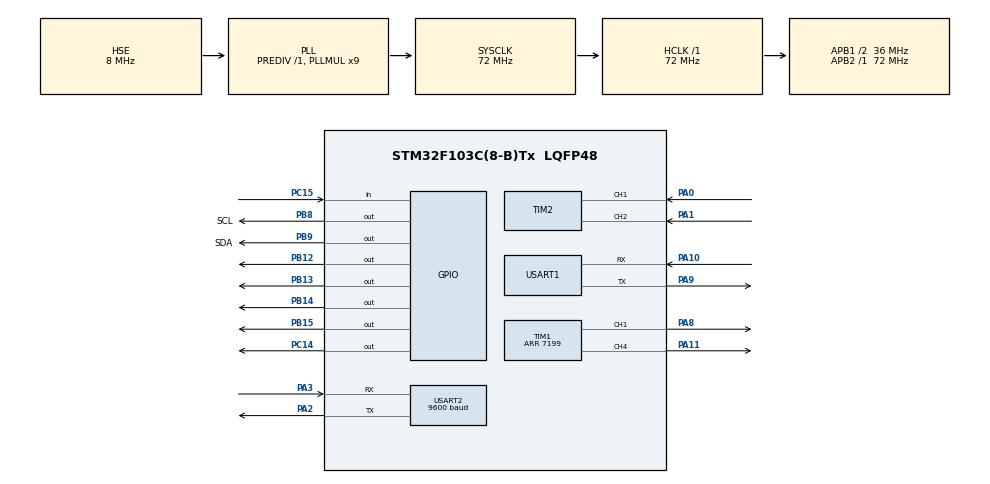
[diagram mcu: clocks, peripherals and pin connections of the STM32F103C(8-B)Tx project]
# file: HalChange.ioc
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FREERTOS.Tasks01=Task01,0,128,StartDefaultTask,Default,NULL,Dynamic,NULL,NULL;Task02,-3,128,StartTask02,Default,NULL,Dynamic,NULL,NULL
Mcu.Family=STM32F1
Mcu.Name=STM32F103C(8-B)Tx
Mcu.Package=LQFP48
NVIC.PriorityGroup=NVIC_PRIORITYGROUP_4
NVIC.TIM2_IRQn=true\:0\:0\:false\:false\:true\:false\:true\:true
NVIC.TIM3_IRQn=true\:0\:0\:false\:false\:true\:false\:true\:true
NVIC.TIM4_IRQn=true\:1\:0\:true\:false\:true\:false\:true\:true
NVIC.TimeBase=TIM3_IRQn
NVIC.TimeBaseIP=TIM3
NVIC.USART1_IRQn=true\:0\:0\:false\:false\:true\:false\:true\:true
NVIC.USART2_IRQn=true\:0\:0\:false\:false\:true\:false\:true\:true
PA0-WKUP.Signal=S_TIM2_CH1_ETR
PA1.Signal=S_TIM2_CH2
PA10.Mode=Asynchronous
PA10.Signal=USART1_RX
PA11.Signal=S_TIM1_CH4
PA13.Mode=Serial_Wire
PA13.Signal=SYS_JTMS-SWDIO
PA14.Mode=Serial_Wire
PA14.Signal=SYS_JTCK-SWCLK
PA2.Mode=Asynchronous
PA2.Signal=USART2_TX
PA3.Mode=Asynchronous
PA3.Signal=USART2_RX
PA8.Signal=S_TIM1_CH1
PA9.Mode=Asynchronous
PA9.Signal=USART1_TX
PB12.GPIO_Speed=GPIO_SPEED_FREQ_HIGH
PB12.PinState=GPIO_PIN_SET
PB12.Signal=GPIO_Output
PB13.GPIO_Speed=GPIO_SPEED_FREQ_HIGH
PB13.PinState=GPIO_PIN_SET
PB13.Signal=GPIO_Output
PB14.GPIO_Speed=GPIO_SPEED_FREQ_HIGH
PB14.PinState=GPIO_PIN_SET
PB14.Signal=GPIO_Output
PB15.GPIO_Speed=GPIO_SPEED_FREQ_HIGH
PB15.PinState=GPIO_PIN_SET
PB15.Signal=GPIO_Output
PB8.GPIO_Label=SCL
PB8.GPIO_Speed=GPIO_SPEED_FREQ_HIGH
PB8.PinState=GPIO_PIN_SET
PB8.Signal=GPIO_Output
PB9.GPIO_Label=SDA
PB9.GPIO_Speed=GPIO_SPEED_FREQ_HIGH
PB9.PinState=GPIO_PIN_SET
PB9.Signal=GPIO_Output
PC14-OSC32_IN.GPIO_PuPd=GPIO_NOPULL
PC14-OSC32_IN.GPIO_Speed=GPIO_SPEED_FREQ_HIGH
PC14-OSC32_IN.PinState=GPIO_PIN_SET
PC14-OSC32_IN.Signal=GPIO_Output
PC15-OSC32_OUT.GPIO_PuPd=GPIO_PULLUP
PC15-OSC32_OUT.Signal=GPIO_Input
PD0-OSC_IN.Mode=HSE-External-Oscillator
PD0-OSC_IN.Signal=RCC_OSC_IN
PD1-OSC_OUT.Mode=HSE-External-Oscillator
PD1-OSC_OUT.Signal=RCC_OSC_OUT
ProjectManager.HeapSize=0x200
ProjectManager.StackSize=0x400
ProjectManager.TargetToolchain=STM32CubeIDE
RCC.AHBFreq_Value=72000000
RCC.APB1CLKDivider=RCC_HCLK_DIV2
RCC.APB1Freq_Value=36000000
RCC.APB1TimFreq_Value=72000000
RCC.APB2Freq_Value=72000000
RCC.APB2TimFreq_Value=72000000
RCC.HCLKFreq_Value=72000000
RCC.PLLMUL=RCC_PLL_MUL9
RCC.PLLSourceVirtual=RCC_PLLSOURCE_HSE
RCC.SYSCLKFreq_VALUE=72000000
RCC.SYSCLKSource=RCC_SYSCLKSOURCE_PLLCLK
RCC.USBFreq_Value=72000000
SH.S_TIM1_CH1.0=TIM1_CH1,PWM Generation1 CH1
SH.S_TIM1_CH4.0=TIM1_CH4,PWM Generation4 CH4
SH.S_TIM2_CH1_ETR.0=TIM2_CH1,Encoder_Interface
SH.S_TIM2_CH2.0=TIM2_CH2,Encoder_Interface
TIM1.Channel-PWM\ Generation1\ CH1=TIM_CHANNEL_1
TIM1.Channel-PWM\ Generation4\ CH4=TIM_CHANNEL_4
TIM1.Period=7199
TIM4.AutoReloadPreload=TIM_AUTORELOAD_PRELOAD_ENABLE
TIM4.Period=99
TIM4.Prescaler=7199
USART1.VirtualMode=VM_ASYNC
USART2.BaudRate=9600
USART2.VirtualMode=VM_ASYNC
VP_FREERTOS_VS_CMSIS_V1.Mode=CMSIS_V1
VP_SYS_VS_tim3.Mode=TIM3
VP_TIM4_VS_ClockSourceINT.Mode=Internal
board=custom

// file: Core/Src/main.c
/* USER CODE BEGIN Header */
/**
  ******************************************************************************
  * @file           : main.c
  * @brief          : Main program body
  ******************************************************************************
  * @attention
  *
  * <h2><center>&copy; Copyright (c) 2023 STMicroelectronics.
  * All rights reserved.</center></h2>
  *
  * This software component is licensed by ST under BSD 3-Clause license,
  * the "License"; You may not use this file except in compliance with the
  * License. You may obtain a copy of the License at:
  *                        opensource.org/licenses/BSD-3-Clause
  *
  ******************************************************************************
  */
/* USER CODE END Header */
#include "main.h"
#include "cmsis_os.h"
#include "tim.h"
#include "usart.h"
#include "gpio.h"

/* USER CODE BEGIN Includes */
#include "stdio.h"
#include "math.h"
#include "TimControl.h"
#include "PidPosition.h"
#include "PidSpeed.h"
/* USER CODE END Includes */

/* USER CODE BEGIN PV */
int MotorSpeed_A = 0,MotorSpeed_B = 0;
int MotorOutput_A = 0,MotorOutput_B = 0;
float Pwm = 0;
int PwmOut = 0;
int count = 0;
uint8_t TX_BUF[100] = {0};
extern int circle;
/* USER CODE END PV */

void SystemClock_Config(void);
void MX_FREERTOS_Init(void);
/* USER CODE BEGIN PFP */
int fputc(int ch, FILE *p);
/* USER CODE END PFP */

int main(void)
{

  /* MCU Configuration--------------------------------------------------------*/

  /* Reset of all peripherals, Initializes the Flash interface and the Systick. */
  HAL_Init();

  /* Configure the system clock */
  SystemClock_Config();

  /* Initialize all configured peripherals */
  MX_GPIO_Init();
  MX_USART1_UART_Init();
  MX_USART2_UART_Init();
  MX_TIM1_Init();
  MX_TIM4_Init();
  MX_TIM2_Init();
  /* USER CODE BEGIN 2 */
  PidSpeed_Init();
  PidPosition_Init();

  HAL_TIM_PWM_Start(&htim1, TIM_CHANNEL_1);
  HAL_TIM_PWM_Start(&htim1, TIM_CHANNEL_4);

  HAL_TIM_Encoder_Start(&htim2, TIM_CHANNEL_1);
  HAL_TIM_Encoder_Start(&htim2, TIM_CHANNEL_2);

  HAL_TIM_Base_Start_IT(&htim4);
  /* USER CODE END 2 */

  /* Call init function for freertos objects (in freertos.c) */
  MX_FREERTOS_Init();
  /* Start scheduler */
  osKernelStart();

  /* We should never get here as control is now taken by the scheduler */
  /* Infinite loop */
  while (1)
  {

  }
}

void SystemClock_Config(void)
{
  RCC_OscInitTypeDef RCC_OscInitStruct = {0};
  RCC_ClkInitTypeDef RCC_ClkInitStruct = {0};

  /** Initializes the RCC Oscillators according to the specified parameters
  * in the RCC_OscInitTypeDef structure.
  */
  RCC_OscInitStruct.OscillatorType = RCC_OSCILLATORTYPE_HSE;
  RCC_OscInitStruct.HSEState = RCC_HSE_ON;
  RCC_OscInitStruct.HSEPredivValue = RCC_HSE_PREDIV_DIV1;
  RCC_OscInitStruct.HSIState = RCC_HSI_ON;
  RCC_OscInitStruct.PLL.PLLState = RCC_PLL_ON;
  RCC_OscInitStruct.PLL.PLLSource = RCC_PLLSOURCE_HSE;
  RCC_OscInitStruct.PLL.PLLMUL = RCC_PLL_MUL9;
  if (HAL_RCC_OscConfig(&RCC_OscInitStruct) != HAL_OK)
  {
    Error_Handler();
  }
  /** Initializes the CPU, AHB and APB buses clocks
  */
  RCC_ClkInitStruct.ClockType = RCC_CLOCKTYPE_HCLK|RCC_CLOCKTYPE_SYSCLK
                              |RCC_CLOCKTYPE_PCLK1|RCC_CLOCKTYPE_PCLK2;
  RCC_ClkInitStruct.SYSCLKSource = RCC_SYSCLKSOURCE_PLLCLK;
  RCC_ClkInitStruct.AHBCLKDivider = RCC_SYSCLK_DIV1;
  RCC_ClkInitStruct.APB1CLKDivider = RCC_HCLK_DIV2;
  RCC_ClkInitStruct.APB2CLKDivider = RCC_HCLK_DIV1;

  if (HAL_RCC_ClockConfig(&RCC_ClkInitStruct, FLASH_LATENCY_2) != HAL_OK)
  {
    Error_Handler();
  }
}

/* USER CODE BEGIN 4 */
int fputc(int ch, FILE *p)
{
    while(!(USART2->SR & (1<<7)));
    USART2->DR = ch;

    return ch;
}

/* USER CODE END 4 */

void HAL_TIM_PeriodElapsedCallback(TIM_HandleTypeDef *htim)
{
  if (htim->Instance == TIM3) {
    HAL_IncTick();
  }
}

void Error_Handler(void)
{
}

/************************ (C) COPYRIGHT STMicroelectronics *****END OF FILE****/

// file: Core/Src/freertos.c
/* USER CODE BEGIN Header */
/**
  ******************************************************************************
  * File Name          : freertos.c
  * Description        : Code for freertos applications
  ******************************************************************************
  * @attention
  *
  * <h2><center>&copy; Copyright (c) 2023 STMicroelectronics.
  * All rights reserved.</center></h2>
  *
  * This software component is licensed by ST under Ultimate Liberty license
  * SLA0044, the "License"; You may not use this file except in compliance with
  * the License. You may obtain a copy of the License at:
  *                             www.st.com/SLA0044
  *
  ******************************************************************************
  */
/* USER CODE END Header */

#include "FreeRTOS.h"
#include "task.h"
#include "main.h"
#include "cmsis_os.h"

/* USER CODE BEGIN Includes */
#include "tim.h"
#include "PidSpeed.h"
#include "PidPosition.h"
#include "TimControl.h"
/* USER CODE END Includes */

osThreadId Task01Handle;
osThreadId Task02Handle;

void StartDefaultTask(void const * argument);
void StartTask02(void const * argument);

void MX_FREERTOS_Init(void); /* (MISRA C 2004 rule 8.1) */

/* GetIdleTaskMemory prototype (linked to static allocation support) */
void vApplicationGetIdleTaskMemory( StaticTask_t **ppxIdleTaskTCBBuffer, StackType_t **ppxIdleTaskStackBuffer, uint32_t *pulIdleTaskStackSize );

/* USER CODE BEGIN GET_IDLE_TASK_MEMORY */
static StaticTask_t xIdleTaskTCBBuffer;
static StackType_t xIdleStack[configMINIMAL_STACK_SIZE];

void vApplicationGetIdleTaskMemory( StaticTask_t **ppxIdleTaskTCBBuffer, StackType_t **ppxIdleTaskStackBuffer, uint32_t *pulIdleTaskStackSize )
{
  *ppxIdleTaskTCBBuffer = &xIdleTaskTCBBuffer;
  *ppxIdleTaskStackBuffer = &xIdleStack[0];
  *pulIdleTaskStackSize = configMINIMAL_STACK_SIZE;
  /* place for user code */
}
/* USER CODE END GET_IDLE_TASK_MEMORY */

void MX_FREERTOS_Init(void) {

  /* Create the thread(s) */
  /* definition and creation of Task01 */
  osThreadDef(Task01, StartDefaultTask, osPriorityNormal, 0, 128);
  Task01Handle = osThreadCreate(osThread(Task01), NULL);

  /* definition and creation of Task02 */
  osThreadDef(Task02, StartTask02, osPriorityIdle, 0, 128);
  Task02Handle = osThreadCreate(osThread(Task02), NULL);

}

void StartDefaultTask(void const * argument)
{
  /* USER CODE BEGIN StartDefaultTask */
  /* Infinite loop */
  for(;;)
  {
      Car_Control();
      osDelay(10);
  }
  /* USER CODE END StartDefaultTask */
}

void StartTask02(void const * argument)
{
  /* USER CODE BEGIN StartTask02 */
  /* Infinite loop */
  for(;;)
  {
      Encoder_Control();
      osDelay(10);
      //HAL_GPIO_WritePin(GPIOC,GPIO_PIN_14,GPIO_PIN_RESET);
      //osDelay(500);
      //HAL_GPIO_WritePin(GPIOC,GPIO_PIN_14,GPIO_PIN_SET);
      //osDelay(500);
  }
  /* USER CODE END StartTask02 */
}

/************************ (C) COPYRIGHT STMicroelectronics *****END OF FILE****/
